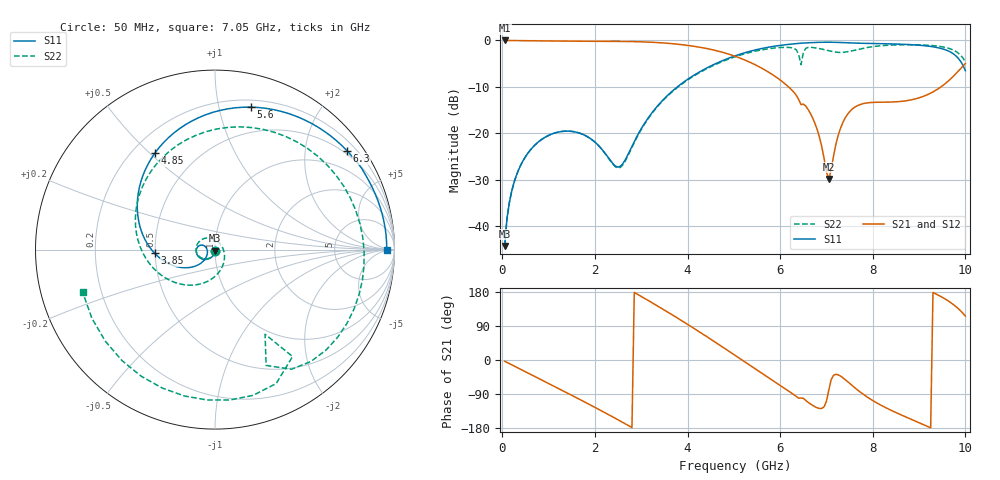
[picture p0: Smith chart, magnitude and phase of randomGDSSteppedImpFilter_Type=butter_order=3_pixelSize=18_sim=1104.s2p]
! freq	dB(S11)	phase(S11)	dB(S12)	phase(S12)
!  dB(S21)	phase(S21)	dB(S22)	phase(S22)
!S-par simulation data
#  GHz  S  DB  R 50
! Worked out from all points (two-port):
!   200 points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, 50 MHz to 10 GHz, reference 50 ohm
!   highest |S21| = -0.01 dB at 50 MHz (marker M1); lowest = -29.9 dB at 7.05 GHz (marker M2)
!   |S21| within 3 dB of the highest: start of sweep to 4.907 GHz
!   lowest |S11| = -44.3 dB at 50 MHz (marker M3), VSWR 1.01, Z = 50 - j0.612 ohm
!   |S11| at or under -10 dB: start of sweep to 3.781 GHz
!   |S22| runs from -44.3 to -0.9 dB; largest |S21 - S12| = 0
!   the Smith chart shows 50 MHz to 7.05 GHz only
!   S11 on the Smith chart (normalised r, x): 50 MHz: 1.00, -0.01; 3.85 GHz: 0.50, -0.02; 4.85 GHz: 0.29, +0.52; 5.6 GHz: 0.26, +1.25; 6.3 GHz: 0.42, +2.95; 7.05 GHz: 45, -0
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0.05  -44.26 -90.6  -0.01 -3.2  -0.01 -3.2  -44.32 -89.6
0.2  -32.61 -101.2  -0.02 -12.5  -0.02 -12.5  -32.61 -102.0
0.55  -24.32 -123.3  -0.06 -34.2  -0.06 -34.2  -24.33 -125.7
1.75  -20.29 170.5  -0.17 -109.0  -0.17 -109.0  -20.29 149.7
2.55  -27.11 -163.2  -0.21 -161.2  -0.21 -161.2  -27.34 19.4
3.4  -13.57 -151.5  -0.49 139.1  -0.49 139.1  -13.69 -112.6
3.85  -9.46 -176.5  -0.88 105.6  -0.88 105.6  -9.60 -154.4
4.85  -3.97 122.0  -2.83 26.7  -2.83 26.7  -4.15 109.2
5.05  -3.24 109.5  -3.49 10.3  -3.49 10.3  -3.44 88.8
5.6  -1.74 76.0  -5.97 -34.6  -5.97 -34.6  -2.03 31.6
6  -1.07 53.0  -8.52 -67.0  -8.52 -67.0  -1.53 -11.8
6.3  -0.73 36.8  -11.20 -91.9  -11.20 -91.9  -1.71 -49.4
6.45  -0.59 29.0  -13.82 -100.3  -13.82 -100.3  -5.22 -59.4
6.5  -0.57 26.4  -13.72 -101.0  -13.72 -101.0  -2.66 -54.0
6.7  -0.46 16.5  -16.67 -119.7  -16.67 -119.7  -1.53 -93.0
7.05  -0.38 -0.0  -29.86 -79.7  -29.86 -79.7  -2.22 -162.3
7.25  -0.43 -8.9  -20.56 -39.0  -20.56 -39.0  -2.57 148.1
7.5  -0.53 -19.0  -15.35 -61.7  -15.35 -61.7  -2.35 85.7
7.85  -0.64 -31.7  -13.50 -95.2  -13.50 -95.2  -1.58 21.2
8.35  -0.73 -49.1  -13.29 -130.1  -13.29 -130.1  -1.03 -33.3
9.25  -1.30 -81.5  -11.35 -179.0  -11.35 -179.0  -1.08 -93.4
10  -6.52 -120.4  -4.97 115.7  -4.97 115.7  -4.60 -147.4
